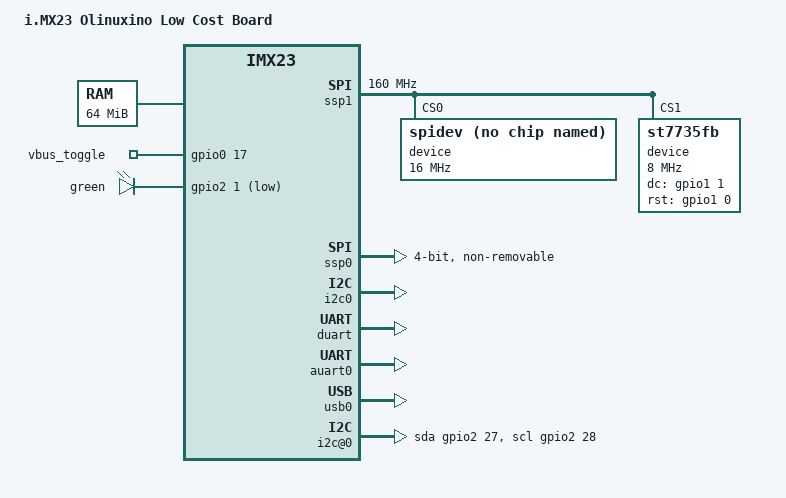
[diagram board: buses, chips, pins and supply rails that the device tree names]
/*
 * Copyright 2012 Freescale Semiconductor, Inc.
 *
 * Author: Fabio Estevam <fabio.estevam@freescale.com>
 *
 * The code contained herein is licensed under the GNU General Public
 * License. You may obtain a copy of the GNU General Public License
 * Version 2 or later at the following locations:
 *
 * http://www.opensource.org/licenses/gpl-license.html
 * http://www.gnu.org/copyleft/gpl.html
 */

/dts-v1/;
/include/ "imx23.dtsi"

/ {
	model = "i.MX23 Olinuxino Low Cost Board";
	compatible = "olimex,imx23-olinuxino", "fsl,imx23";

	memory {
		reg = <0x40000000 0x04000000>;
	};

	apb@80000000 {
		apbh@80000000 {
			ssp1: ssp@80034000 {
				compatible = "fsl,imx23-spi";
				clock-frequency = <160000000>;
				bus-num = <1>;
				pinctrl-names = "default";
				pinctrl-0 = <&spi1_control_pins &spi1_cs_pins &tft_pins>;
				status = "okay";

				#address-cells = <1>;
				#size-cells = <0>;

				device@0 {
					compatible = "spidev";
					reg = <0>;
					spi-max-frequency = <16000000>;
					interrupts = <&gpio2 28>;
					interrupt-names = "spidev-trigger";
				};

		
			device@1 {
					compatible = "st7735fb";
					reg = <1>;
					spi-max-frequency = <8000000>;
					st7735fb,dc-gpio = <&gpio1 1 0>;
					st7735fb,rst-gpio = <&gpio1 0 0>;
					big-endian = <1>;
				};
			};
			pinctrl@80018000 {
				spi1_control_pins: spi1_control_pins {
					reg = <0>;
					fsl,pinmux-ids = <
						0x0182 // MX23_PAD_GPMI_WRN__SSP2_SCK
						0x0142 // MX23_PAD_GPMI_RDY1__SSP2_CMD aka MOSI
						0x0002 // MX23_PAD_GPMI_D00__SSP2_DATA0 aka MISO
					>;
				};
				spi1_cs_pins: spi1_cs_pins {
					reg = <0>;
					fsl,pinmux-ids = <
						0x0032  // MX23_PAD_GPMI_D03__SSP2_DATA3 aka Scn0
						0x0042	// MX23_PAD_GPMI_D04__SSP2_DATA4 aka Scn1
					//	0x0052	// MX23_PAD_GPMI_D05__SSP2_DATA5 aka Scn2

						// This is optional, this allows the spidev
						// driver to have an interrupt pin, this is
						// "Bank 2 pin 28" and it needs a pullup
						0x21c3 // MX23_PAD_GPMI_CE0N__GPIO_2_28
					>;
					fsl,pull-up = <1>;
				};
				tft_pins: tft_pins {
					reg = <0>;
					fsl,pinmux-ids = <
						0x1013  // MX23_PAD_LCD_D01__GPIO_1_1 aka D/C
						0x1003	// MX23_PAD_LCD_D00__GPIO_1_0 aka RST
					>;
					fsl,pull-up = <1>;
				};
			};
			lcdif@80030000 {
				pinctrl-names = "default";
				pinctrl-0 = <&lcdif_16bit_pins_a>;
				/*   panel-enable-gpios = <&gpio1 18 0>; */
				status = "disabled";
			};

			ssp0: ssp@80010000 {
				compatible = "fsl,imx23-mmc";
				pinctrl-names = "default";
				pinctrl-0 = <&mmc0_4bit_pins_a &mmc0_pins_fixup>;
				bus-width = <4>;
				non-removable;
				status = "okay";
			};

			pinctrl@80018000 {
				pinctrl-names = "default";
				pinctrl-0 = <&hog_pins_a>;

				hog_pins_a: hog@0 {
					reg = <0>;
					fsl,pinmux-ids = <
						0x0113 /* MX23_PAD_GPMI_ALE__GPIO_0_17 */
					>;
					fsl,drive-strength = <0>;
					fsl,voltage = <1>;
					fsl,pull-up = <0>;
				};

				led_pin_gpio2_1: led_gpio2_1@0 {
					reg = <0>;
					fsl,pinmux-ids = <
						0x2013 /* MX23_PAD_SSP1_DETECT__GPIO_2_1 */
					>;
					fsl,drive-strength = <0>;
					fsl,voltage = <1>;
					fsl,pull-up = <0>;
				};
			};

			ssp1: ssp@80034000 {
				#address-cells = <1>;
				#size-cells = <0>;
				compatible = "fsl,imx23-spi";
				pinctrl-names = "default";
				pinctrl-0 = <&spi2_pins_a>;
				status = "okay";
			};
		};

		apbx@80040000 {
			i2c0: i2c@80058000 {
				pinctrl-names = "default";
				pinctrl-0 = <&i2c1_pins_a>;
				status = "okay";
			};

			duart: serial@80070000 {
				pinctrl-names = "default";
				pinctrl-0 = <&duart_pins_a>;
				status = "okay";
			};

			auart0: serial@8006c000 {
				pinctrl-names = "default";
				pinctrl-0 = <&auart0_2pins_a>;
				status = "okay";
			};

			usbphy0: usbphy@8007c000 {
				status = "okay";
			};
		};
	};

	ahb@80080000 {
		usb0: usb@80080000 {
			status = "okay";
		};
	};
	gpio_export {
		compatible = "gpio-export";
		#size-cells = <0>;

		vbus_toggle {
			gpio-export,name = "vbus_toggle";
			gpio-export,output = <1>;
			gpios = <&gpio0 17 0>;
		};
	};

	/*
	 * maxi declares the i2c by default as software -- so instanciate a linux driver
	 * for it
	 */
	i2c@0 {
		compatible = "i2c-gpio";
		gpios = <&gpio2 27 0 /* sda */
			 &gpio2 28 0 /* scl */
			>;
		i2c-gpio,delay-us = <2>;	/* ~100 kHz */
	};

	leds {
		compatible = "gpio-leds";
		pinctrl-names = "default";
		pinctrl-0 = <&led_pin_gpio2_1>;

		user {
			label = "green";
			gpios = <&gpio2 1 1>;
		};
	};
};
